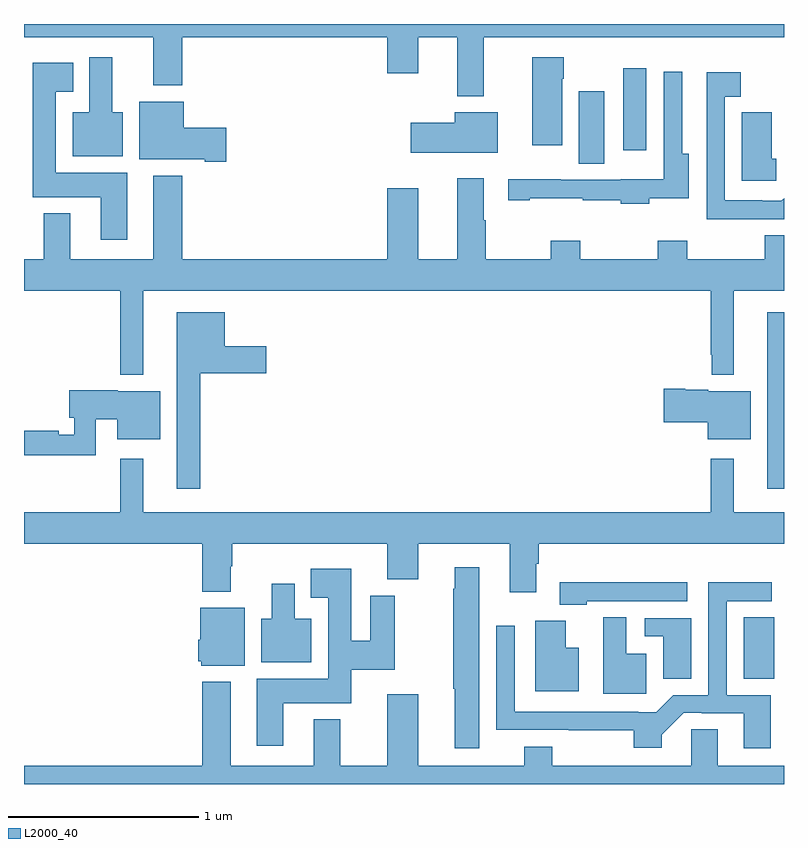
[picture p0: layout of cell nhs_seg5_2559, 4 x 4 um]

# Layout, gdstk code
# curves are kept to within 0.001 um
import gdstk
lib = gdstk.Library(unit=1e-6, precision=1e-09)
def R(c, l, rs):  # rectangles x0, y0, x1, y1
    for r in rs: c.add(gdstk.rectangle(r[:2], r[2:], *l))
def P(c, l, *ps):  # polygons
    for p in ps: c.add(gdstk.Polygon(p, *l))
L2000_40 = (2000, 40)

nhs_seg5_2559 = lib.new_cell('nhs_seg5_2559')
R(nhs_seg5_2559, L2000_40, [(262.787,885.352,262.948,885.677), (262.913,886.353,263,887.281), (261.92,888.064,262.054,888.445), (262.154,888.135,262.276,888.565)])
P(nhs_seg5_2559, L2000_40, [(261.421,888.728),(263,888.728),(263,888.799),(259,888.799),(259,888.728),(259.679,888.728),(259.679,888.476),(259.832,888.476),(259.832,888.728),(260.912,888.728),(260.912,888.54),(261.076,888.54),(261.076,888.728),(261.281,888.728),(261.281,888.419),(261.421,888.419)],
  [(261.832,888.512),(261.84,888.512),(261.84,888.625),(261.674,888.625),(261.674,888.162),(261.832,888.162)],
  [(259.519,888.334),(259.465,888.334),(259.465,888.625),(259.343,888.625),(259.343,888.334),(259.256,888.334),(259.256,888.104),(259.519,888.104)],
  [(259.543,888.016),(259.168,888.016),(259.168,888.443),(259.258,888.443),(259.258,888.595),(259.046,888.595),(259.046,887.888),(259.403,887.888),(259.403,887.664),(259.543,887.664)],
  [(262.29,887.882),(262.498,887.882),(262.498,888.115),(262.464,888.115),(262.464,888.547),(262.368,888.547),(262.368,887.983),(262.14,887.983),(262.14,887.979),(261.824,887.979),(261.824,887.981),(261.549,887.981),(261.549,887.871),(261.661,887.871),(261.661,887.881),(261.94,887.881),(261.94,887.871),(262.14,887.871),(262.14,887.854),(262.29,887.854)],
  [(263,887.882),(262.986,887.868),(262.886,887.868),(262.886,887.872),(262.689,887.872),(262.689,888.416),(262.772,888.416),(262.772,888.544),(262.593,888.544),(262.593,887.771),(263,887.771)],
  [(260.065,888.252),(259.84,888.252),(259.84,888.391),(259.607,888.391),(259.607,888.086),(259.952,888.086),(259.952,888.074),(260.065,888.074)],
  [(262.959,888.09),(262.936,888.09),(262.936,888.335),(262.778,888.335),(262.778,887.973),(262.959,887.973)],
  [(261.493,888.334),(261.266,888.334),(261.266,888.28),(261.036,888.28),(261.036,888.122),(261.493,888.122)],
  [(259.627,887.396),(262.614,887.396),(262.614,887.059),(262.621,887.059),(262.621,886.952),(262.735,886.952),(262.735,887.396),(263,887.396),(263,887.686),(262.898,887.686),(262.898,887.56),(262.491,887.56),(262.491,887.659),(262.336,887.659),(262.336,887.56),(261.927,887.56),(261.927,887.659),(261.772,887.659),(261.772,887.56),(261.429,887.56),(261.429,887.765),(261.421,887.765),(261.421,887.986),(261.281,887.986),(261.281,887.56),(261.076,887.56),(261.076,887.935),(260.912,887.935),(260.912,887.56),(259.832,887.56),(259.832,888.001),(259.679,888.001),(259.679,887.56),(259.243,887.56),(259.243,887.803),(259.103,887.803),(259.103,887.56),(259,887.56),(259,887.396),(259.506,887.396),(259.506,887.059),(259.507,887.059),(259.507,886.952),(259.627,886.952)],
  [(259.927,886.961),(260.275,886.961),(260.275,887.103),(260.056,887.103),(260.056,887.281),(259.805,887.281),(259.805,886.353),(259.927,886.353)],
  [(262.825,886.867),(262.602,886.867),(262.602,886.873),(262.48,886.873),(262.48,886.88),(262.368,886.88),(262.368,886.702),(262.598,886.702),(262.598,886.613),(262.825,886.613)],
  [(259.377,886.72),(259.49,886.72),(259.49,886.613),(259.717,886.613),(259.717,886.867),(259.494,886.867),(259.494,886.872),(259.238,886.872),(259.238,886.727),(259.265,886.727),(259.265,886.638),(259.184,886.638),(259.184,886.658),(259,886.658),(259,886.53),(259.377,886.53)],
  [(261.697,885.958),(261.71,885.958),(261.71,886.064),(263,886.064),(263,886.228),(262.735,886.228),(262.735,886.51),(262.614,886.51),(262.614,886.228),(259.627,886.228),(259.627,886.51),(259.506,886.51),(259.506,886.228),(259,886.228),(259,886.064),(259.937,886.064),(259.937,885.812),(260.089,885.812),(260.089,885.944),(260.097,885.944),(260.097,886.064),(260.912,886.064),(260.912,885.876),(261.076,885.876),(261.076,886.064),(261.557,886.064),(261.557,885.807),(261.697,885.807)],
  [(261.397,885.94),(261.266,885.94),(261.266,885.827),(261.259,885.827),(261.259,885.3),(261.266,885.3),(261.266,884.988),(261.397,884.988)],
  [(260.365,885.224),(260.722,885.224),(260.722,885.401),(260.952,885.401),(260.952,885.79),(260.822,885.79),(260.822,885.554),(260.722,885.554),(260.722,885.931),(260.51,885.931),(260.51,885.779),(260.6,885.779),(260.6,885.352),(260.225,885.352),(260.225,885),(260.365,885)],
  [(261.963,885.761),(262.492,885.761),(262.492,885.862),(261.819,885.862),(261.819,885.743),(261.963,885.743)],
  [(262.93,885.267),(262.698,885.267),(262.698,885.762),(262.936,885.762),(262.936,885.86),(262.602,885.86),(262.602,885.267),(262.418,885.267),(262.328,885.177),(262.232,885.177),(262.232,885.18),(261.582,885.18),(261.582,885.631),(261.486,885.631),(261.486,885.084),(262.21,885.083),(262.21,884.99),(262.357,884.99),(262.357,885.058),(262.473,885.174),(262.567,885.174),(262.567,885.171),(262.787,885.171),(262.787,884.988),(262.93,884.988)],
  [(260.512,885.67),(260.425,885.67),(260.425,885.853),(260.303,885.853),(260.303,885.67),(260.249,885.67),(260.249,885.44),(260.512,885.44)],
  [(260.161,885.727),(259.928,885.727),(259.928,885.558),(259.916,885.558),(259.916,885.444),(259.932,885.444),(259.932,885.422),(260.161,885.422)],
  [(262.276,885.484),(262.171,885.484),(262.171,885.676),(262.049,885.676),(262.049,885.275),(262.276,885.275)],
  [(262.513,885.672),(262.266,885.672),(262.266,885.576),(262.364,885.576),(262.364,885.352),(262.513,885.352)],
  [(261.919,885.517),(261.85,885.517),(261.85,885.658),(261.692,885.658),(261.692,885.287),(261.919,885.287)],
  [(263,884.896),(262.651,884.896),(262.651,885.086),(262.512,885.086),(262.512,884.896),(261.779,884.896),(261.779,884.995),(261.632,884.995),(261.632,884.896),(261.076,884.896),(261.076,885.271),(260.912,885.271),(260.912,884.896),(260.665,884.896),(260.665,885.139),(260.525,885.139),(260.525,884.896),(260.089,884.896),(260.089,885.337),(259.937,885.337),(259.937,884.896),(259,884.896),(259,884.799),(263,884.799)])

lib.write_gds('nhs_seg5_2559.gds')
